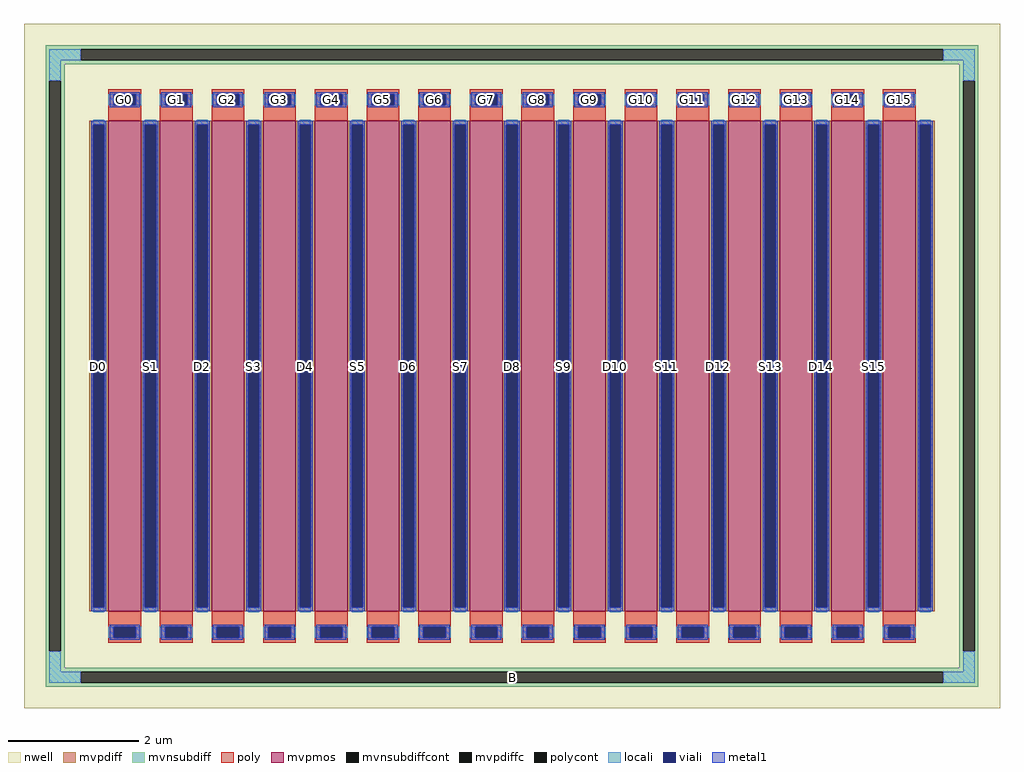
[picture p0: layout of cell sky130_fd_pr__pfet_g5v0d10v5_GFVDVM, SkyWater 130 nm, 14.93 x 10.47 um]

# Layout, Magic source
magic
tech sky130A
magscale 1 2
<< nwell >>
rect -1493 -1047 1493 1047
<< mvpmos >>
rect -1235 -750 -1135 750
rect -1077 -750 -977 750
rect -919 -750 -819 750
rect -761 -750 -661 750
rect -603 -750 -503 750
rect -445 -750 -345 750
rect -287 -750 -187 750
rect -129 -750 -29 750
rect 29 -750 129 750
rect 187 -750 287 750
rect 345 -750 445 750
rect 503 -750 603 750
rect 661 -750 761 750
rect 819 -750 919 750
rect 977 -750 1077 750
rect 1135 -750 1235 750
<< mvpdiff >>
rect -1293 738 -1235 750
rect -1293 -738 -1281 738
rect -1247 -738 -1235 738
rect -1293 -750 -1235 -738
rect -1135 738 -1077 750
rect -1135 -738 -1123 738
rect -1089 -738 -1077 738
rect -1135 -750 -1077 -738
rect -977 738 -919 750
rect -977 -738 -965 738
rect -931 -738 -919 738
rect -977 -750 -919 -738
rect -819 738 -761 750
rect -819 -738 -807 738
rect -773 -738 -761 738
rect -819 -750 -761 -738
rect -661 738 -603 750
rect -661 -738 -649 738
rect -615 -738 -603 738
rect -661 -750 -603 -738
rect -503 738 -445 750
rect -503 -738 -491 738
rect -457 -738 -445 738
rect -503 -750 -445 -738
rect -345 738 -287 750
rect -345 -738 -333 738
rect -299 -738 -287 738
rect -345 -750 -287 -738
rect -187 738 -129 750
rect -187 -738 -175 738
rect -141 -738 -129 738
rect -187 -750 -129 -738
rect -29 738 29 750
rect -29 -738 -17 738
rect 17 -738 29 738
rect -29 -750 29 -738
rect 129 738 187 750
rect 129 -738 141 738
rect 175 -738 187 738
rect 129 -750 187 -738
rect 287 738 345 750
rect 287 -738 299 738
rect 333 -738 345 738
rect 287 -750 345 -738
rect 445 738 503 750
rect 445 -738 457 738
rect 491 -738 503 738
rect 445 -750 503 -738
rect 603 738 661 750
rect 603 -738 615 738
rect 649 -738 661 738
rect 603 -750 661 -738
rect 761 738 819 750
rect 761 -738 773 738
rect 807 -738 819 738
rect 761 -750 819 -738
rect 919 738 977 750
rect 919 -738 931 738
rect 965 -738 977 738
rect 919 -750 977 -738
rect 1077 738 1135 750
rect 1077 -738 1089 738
rect 1123 -738 1135 738
rect 1077 -750 1135 -738
rect 1235 738 1293 750
rect 1235 -738 1247 738
rect 1281 -738 1293 738
rect 1235 -750 1293 -738
<< mvpdiffc >>
rect -1281 -738 -1247 738
rect -1123 -738 -1089 738
rect -965 -738 -931 738
rect -807 -738 -773 738
rect -649 -738 -615 738
rect -491 -738 -457 738
rect -333 -738 -299 738
rect -175 -738 -141 738
rect -17 -738 17 738
rect 141 -738 175 738
rect 299 -738 333 738
rect 457 -738 491 738
rect 615 -738 649 738
rect 773 -738 807 738
rect 931 -738 965 738
rect 1089 -738 1123 738
rect 1247 -738 1281 738
<< mvnsubdiff >>
rect -1427 969 1427 981
rect -1427 935 -1319 969
rect 1319 935 1427 969
rect -1427 923 1427 935
rect -1427 873 -1369 923
rect -1427 -873 -1415 873
rect -1381 -873 -1369 873
rect 1369 873 1427 923
rect -1427 -923 -1369 -873
rect 1369 -873 1381 873
rect 1415 -873 1427 873
rect 1369 -923 1427 -873
rect -1427 -935 1427 -923
rect -1427 -969 -1319 -935
rect 1319 -969 1427 -935
rect -1427 -981 1427 -969
<< mvnsubdiffcont >>
rect -1319 935 1319 969
rect -1415 -873 -1381 873
rect 1381 -873 1415 873
rect -1319 -969 1319 -935
<< poly >>
rect -1235 831 -1135 847
rect -1235 797 -1219 831
rect -1151 797 -1135 831
rect -1235 750 -1135 797
rect -1077 831 -977 847
rect -1077 797 -1061 831
rect -993 797 -977 831
rect -1077 750 -977 797
rect -919 831 -819 847
rect -919 797 -903 831
rect -835 797 -819 831
rect -919 750 -819 797
rect -761 831 -661 847
rect -761 797 -745 831
rect -677 797 -661 831
rect -761 750 -661 797
rect -603 831 -503 847
rect -603 797 -587 831
rect -519 797 -503 831
rect -603 750 -503 797
rect -445 831 -345 847
rect -445 797 -429 831
rect -361 797 -345 831
rect -445 750 -345 797
rect -287 831 -187 847
rect -287 797 -271 831
rect -203 797 -187 831
rect -287 750 -187 797
rect -129 831 -29 847
rect -129 797 -113 831
rect -45 797 -29 831
rect -129 750 -29 797
rect 29 831 129 847
rect 29 797 45 831
rect 113 797 129 831
rect 29 750 129 797
rect 187 831 287 847
rect 187 797 203 831
rect 271 797 287 831
rect 187 750 287 797
rect 345 831 445 847
rect 345 797 361 831
rect 429 797 445 831
rect 345 750 445 797
rect 503 831 603 847
rect 503 797 519 831
rect 587 797 603 831
rect 503 750 603 797
rect 661 831 761 847
rect 661 797 677 831
rect 745 797 761 831
rect 661 750 761 797
rect 819 831 919 847
rect 819 797 835 831
rect 903 797 919 831
rect 819 750 919 797
rect 977 831 1077 847
rect 977 797 993 831
rect 1061 797 1077 831
rect 977 750 1077 797
rect 1135 831 1235 847
rect 1135 797 1151 831
rect 1219 797 1235 831
rect 1135 750 1235 797
rect -1235 -797 -1135 -750
rect -1235 -831 -1219 -797
rect -1151 -831 -1135 -797
rect -1235 -847 -1135 -831
rect -1077 -797 -977 -750
rect -1077 -831 -1061 -797
rect -993 -831 -977 -797
rect -1077 -847 -977 -831
rect -919 -797 -819 -750
rect -919 -831 -903 -797
rect -835 -831 -819 -797
rect -919 -847 -819 -831
rect -761 -797 -661 -750
rect -761 -831 -745 -797
rect -677 -831 -661 -797
rect -761 -847 -661 -831
rect -603 -797 -503 -750
rect -603 -831 -587 -797
rect -519 -831 -503 -797
rect -603 -847 -503 -831
rect -445 -797 -345 -750
rect -445 -831 -429 -797
rect -361 -831 -345 -797
rect -445 -847 -345 -831
rect -287 -797 -187 -750
rect -287 -831 -271 -797
rect -203 -831 -187 -797
rect -287 -847 -187 -831
rect -129 -797 -29 -750
rect -129 -831 -113 -797
rect -45 -831 -29 -797
rect -129 -847 -29 -831
rect 29 -797 129 -750
rect 29 -831 45 -797
rect 113 -831 129 -797
rect 29 -847 129 -831
rect 187 -797 287 -750
rect 187 -831 203 -797
rect 271 -831 287 -797
rect 187 -847 287 -831
rect 345 -797 445 -750
rect 345 -831 361 -797
rect 429 -831 445 -797
rect 345 -847 445 -831
rect 503 -797 603 -750
rect 503 -831 519 -797
rect 587 -831 603 -797
rect 503 -847 603 -831
rect 661 -797 761 -750
rect 661 -831 677 -797
rect 745 -831 761 -797
rect 661 -847 761 -831
rect 819 -797 919 -750
rect 819 -831 835 -797
rect 903 -831 919 -797
rect 819 -847 919 -831
rect 977 -797 1077 -750
rect 977 -831 993 -797
rect 1061 -831 1077 -797
rect 977 -847 1077 -831
rect 1135 -797 1235 -750
rect 1135 -831 1151 -797
rect 1219 -831 1235 -797
rect 1135 -847 1235 -831
<< polycont >>
rect -1219 797 -1151 831
rect -1061 797 -993 831
rect -903 797 -835 831
rect -745 797 -677 831
rect -587 797 -519 831
rect -429 797 -361 831
rect -271 797 -203 831
rect -113 797 -45 831
rect 45 797 113 831
rect 203 797 271 831
rect 361 797 429 831
rect 519 797 587 831
rect 677 797 745 831
rect 835 797 903 831
rect 993 797 1061 831
rect 1151 797 1219 831
rect -1219 -831 -1151 -797
rect -1061 -831 -993 -797
rect -903 -831 -835 -797
rect -745 -831 -677 -797
rect -587 -831 -519 -797
rect -429 -831 -361 -797
rect -271 -831 -203 -797
rect -113 -831 -45 -797
rect 45 -831 113 -797
rect 203 -831 271 -797
rect 361 -831 429 -797
rect 519 -831 587 -797
rect 677 -831 745 -797
rect 835 -831 903 -797
rect 993 -831 1061 -797
rect 1151 -831 1219 -797
<< locali >>
rect -1415 935 -1319 969
rect 1319 935 1415 969
rect -1415 873 -1381 935
rect 1381 873 1415 935
rect -1235 797 -1219 831
rect -1151 797 -1135 831
rect -1077 797 -1061 831
rect -993 797 -977 831
rect -919 797 -903 831
rect -835 797 -819 831
rect -761 797 -745 831
rect -677 797 -661 831
rect -603 797 -587 831
rect -519 797 -503 831
rect -445 797 -429 831
rect -361 797 -345 831
rect -287 797 -271 831
rect -203 797 -187 831
rect -129 797 -113 831
rect -45 797 -29 831
rect 29 797 45 831
rect 113 797 129 831
rect 187 797 203 831
rect 271 797 287 831
rect 345 797 361 831
rect 429 797 445 831
rect 503 797 519 831
rect 587 797 603 831
rect 661 797 677 831
rect 745 797 761 831
rect 819 797 835 831
rect 903 797 919 831
rect 977 797 993 831
rect 1061 797 1077 831
rect 1135 797 1151 831
rect 1219 797 1235 831
rect -1281 738 -1247 754
rect -1281 -754 -1247 -738
rect -1123 738 -1089 754
rect -1123 -754 -1089 -738
rect -965 738 -931 754
rect -965 -754 -931 -738
rect -807 738 -773 754
rect -807 -754 -773 -738
rect -649 738 -615 754
rect -649 -754 -615 -738
rect -491 738 -457 754
rect -491 -754 -457 -738
rect -333 738 -299 754
rect -333 -754 -299 -738
rect -175 738 -141 754
rect -175 -754 -141 -738
rect -17 738 17 754
rect -17 -754 17 -738
rect 141 738 175 754
rect 141 -754 175 -738
rect 299 738 333 754
rect 299 -754 333 -738
rect 457 738 491 754
rect 457 -754 491 -738
rect 615 738 649 754
rect 615 -754 649 -738
rect 773 738 807 754
rect 773 -754 807 -738
rect 931 738 965 754
rect 931 -754 965 -738
rect 1089 738 1123 754
rect 1089 -754 1123 -738
rect 1247 738 1281 754
rect 1247 -754 1281 -738
rect -1235 -831 -1219 -797
rect -1151 -831 -1135 -797
rect -1077 -831 -1061 -797
rect -993 -831 -977 -797
rect -919 -831 -903 -797
rect -835 -831 -819 -797
rect -761 -831 -745 -797
rect -677 -831 -661 -797
rect -603 -831 -587 -797
rect -519 -831 -503 -797
rect -445 -831 -429 -797
rect -361 -831 -345 -797
rect -287 -831 -271 -797
rect -203 -831 -187 -797
rect -129 -831 -113 -797
rect -45 -831 -29 -797
rect 29 -831 45 -797
rect 113 -831 129 -797
rect 187 -831 203 -797
rect 271 -831 287 -797
rect 345 -831 361 -797
rect 429 -831 445 -797
rect 503 -831 519 -797
rect 587 -831 603 -797
rect 661 -831 677 -797
rect 745 -831 761 -797
rect 819 -831 835 -797
rect 903 -831 919 -797
rect 977 -831 993 -797
rect 1061 -831 1077 -797
rect 1135 -831 1151 -797
rect 1219 -831 1235 -797
rect -1415 -935 -1381 -873
rect 1381 -935 1415 -873
rect -1415 -969 -1319 -935
rect 1319 -969 1415 -935
<< viali >>
rect -1219 797 -1151 831
rect -1061 797 -993 831
rect -903 797 -835 831
rect -745 797 -677 831
rect -587 797 -519 831
rect -429 797 -361 831
rect -271 797 -203 831
rect -113 797 -45 831
rect 45 797 113 831
rect 203 797 271 831
rect 361 797 429 831
rect 519 797 587 831
rect 677 797 745 831
rect 835 797 903 831
rect 993 797 1061 831
rect 1151 797 1219 831
rect -1281 -738 -1247 738
rect -1123 -738 -1089 738
rect -965 -738 -931 738
rect -807 -738 -773 738
rect -649 -738 -615 738
rect -491 -738 -457 738
rect -333 -738 -299 738
rect -175 -738 -141 738
rect -17 -738 17 738
rect 141 -738 175 738
rect 299 -738 333 738
rect 457 -738 491 738
rect 615 -738 649 738
rect 773 -738 807 738
rect 931 -738 965 738
rect 1089 -738 1123 738
rect 1247 -738 1281 738
rect -1219 -831 -1151 -797
rect -1061 -831 -993 -797
rect -903 -831 -835 -797
rect -745 -831 -677 -797
rect -587 -831 -519 -797
rect -429 -831 -361 -797
rect -271 -831 -203 -797
rect -113 -831 -45 -797
rect 45 -831 113 -797
rect 203 -831 271 -797
rect 361 -831 429 -797
rect 519 -831 587 -797
rect 677 -831 745 -797
rect 835 -831 903 -797
rect 993 -831 1061 -797
rect 1151 -831 1219 -797
<< metal1 >>
rect -1231 831 -1139 837
rect -1231 797 -1219 831
rect -1151 797 -1139 831
rect -1231 791 -1139 797
rect -1073 831 -981 837
rect -1073 797 -1061 831
rect -993 797 -981 831
rect -1073 791 -981 797
rect -915 831 -823 837
rect -915 797 -903 831
rect -835 797 -823 831
rect -915 791 -823 797
rect -757 831 -665 837
rect -757 797 -745 831
rect -677 797 -665 831
rect -757 791 -665 797
rect -599 831 -507 837
rect -599 797 -587 831
rect -519 797 -507 831
rect -599 791 -507 797
rect -441 831 -349 837
rect -441 797 -429 831
rect -361 797 -349 831
rect -441 791 -349 797
rect -283 831 -191 837
rect -283 797 -271 831
rect -203 797 -191 831
rect -283 791 -191 797
rect -125 831 -33 837
rect -125 797 -113 831
rect -45 797 -33 831
rect -125 791 -33 797
rect 33 831 125 837
rect 33 797 45 831
rect 113 797 125 831
rect 33 791 125 797
rect 191 831 283 837
rect 191 797 203 831
rect 271 797 283 831
rect 191 791 283 797
rect 349 831 441 837
rect 349 797 361 831
rect 429 797 441 831
rect 349 791 441 797
rect 507 831 599 837
rect 507 797 519 831
rect 587 797 599 831
rect 507 791 599 797
rect 665 831 757 837
rect 665 797 677 831
rect 745 797 757 831
rect 665 791 757 797
rect 823 831 915 837
rect 823 797 835 831
rect 903 797 915 831
rect 823 791 915 797
rect 981 831 1073 837
rect 981 797 993 831
rect 1061 797 1073 831
rect 981 791 1073 797
rect 1139 831 1231 837
rect 1139 797 1151 831
rect 1219 797 1231 831
rect 1139 791 1231 797
rect -1287 738 -1241 750
rect -1287 -738 -1281 738
rect -1247 -738 -1241 738
rect -1287 -750 -1241 -738
rect -1129 738 -1083 750
rect -1129 -738 -1123 738
rect -1089 -738 -1083 738
rect -1129 -750 -1083 -738
rect -971 738 -925 750
rect -971 -738 -965 738
rect -931 -738 -925 738
rect -971 -750 -925 -738
rect -813 738 -767 750
rect -813 -738 -807 738
rect -773 -738 -767 738
rect -813 -750 -767 -738
rect -655 738 -609 750
rect -655 -738 -649 738
rect -615 -738 -609 738
rect -655 -750 -609 -738
rect -497 738 -451 750
rect -497 -738 -491 738
rect -457 -738 -451 738
rect -497 -750 -451 -738
rect -339 738 -293 750
rect -339 -738 -333 738
rect -299 -738 -293 738
rect -339 -750 -293 -738
rect -181 738 -135 750
rect -181 -738 -175 738
rect -141 -738 -135 738
rect -181 -750 -135 -738
rect -23 738 23 750
rect -23 -738 -17 738
rect 17 -738 23 738
rect -23 -750 23 -738
rect 135 738 181 750
rect 135 -738 141 738
rect 175 -738 181 738
rect 135 -750 181 -738
rect 293 738 339 750
rect 293 -738 299 738
rect 333 -738 339 738
rect 293 -750 339 -738
rect 451 738 497 750
rect 451 -738 457 738
rect 491 -738 497 738
rect 451 -750 497 -738
rect 609 738 655 750
rect 609 -738 615 738
rect 649 -738 655 738
rect 609 -750 655 -738
rect 767 738 813 750
rect 767 -738 773 738
rect 807 -738 813 738
rect 767 -750 813 -738
rect 925 738 971 750
rect 925 -738 931 738
rect 965 -738 971 738
rect 925 -750 971 -738
rect 1083 738 1129 750
rect 1083 -738 1089 738
rect 1123 -738 1129 738
rect 1083 -750 1129 -738
rect 1241 738 1287 750
rect 1241 -738 1247 738
rect 1281 -738 1287 738
rect 1241 -750 1287 -738
rect -1231 -797 -1139 -791
rect -1231 -831 -1219 -797
rect -1151 -831 -1139 -797
rect -1231 -837 -1139 -831
rect -1073 -797 -981 -791
rect -1073 -831 -1061 -797
rect -993 -831 -981 -797
rect -1073 -837 -981 -831
rect -915 -797 -823 -791
rect -915 -831 -903 -797
rect -835 -831 -823 -797
rect -915 -837 -823 -831
rect -757 -797 -665 -791
rect -757 -831 -745 -797
rect -677 -831 -665 -797
rect -757 -837 -665 -831
rect -599 -797 -507 -791
rect -599 -831 -587 -797
rect -519 -831 -507 -797
rect -599 -837 -507 -831
rect -441 -797 -349 -791
rect -441 -831 -429 -797
rect -361 -831 -349 -797
rect -441 -837 -349 -831
rect -283 -797 -191 -791
rect -283 -831 -271 -797
rect -203 -831 -191 -797
rect -283 -837 -191 -831
rect -125 -797 -33 -791
rect -125 -831 -113 -797
rect -45 -831 -33 -797
rect -125 -837 -33 -831
rect 33 -797 125 -791
rect 33 -831 45 -797
rect 113 -831 125 -797
rect 33 -837 125 -831
rect 191 -797 283 -791
rect 191 -831 203 -797
rect 271 -831 283 -797
rect 191 -837 283 -831
rect 349 -797 441 -791
rect 349 -831 361 -797
rect 429 -831 441 -797
rect 349 -837 441 -831
rect 507 -797 599 -791
rect 507 -831 519 -797
rect 587 -831 599 -797
rect 507 -837 599 -831
rect 665 -797 757 -791
rect 665 -831 677 -797
rect 745 -831 757 -797
rect 665 -837 757 -831
rect 823 -797 915 -791
rect 823 -831 835 -797
rect 903 -831 915 -797
rect 823 -837 915 -831
rect 981 -797 1073 -791
rect 981 -831 993 -797
rect 1061 -831 1073 -797
rect 981 -837 1073 -831
rect 1139 -797 1231 -791
rect 1139 -831 1151 -797
rect 1219 -831 1231 -797
rect 1139 -837 1231 -831
<< labels >>
rlabel mvnsubdiffcont 0 -952 0 -952 0 B
port 1 nsew
rlabel mvpdiffc -1264 0 -1264 0 0 D0
port 2 nsew
rlabel polycont -1185 814 -1185 814 0 G0
port 3 nsew
rlabel mvpdiffc -1106 0 -1106 0 0 S1
port 4 nsew
rlabel polycont -1027 814 -1027 814 0 G1
port 5 nsew
rlabel mvpdiffc -948 0 -948 0 0 D2
port 6 nsew
rlabel polycont -869 814 -869 814 0 G2
port 7 nsew
rlabel mvpdiffc -790 0 -790 0 0 S3
port 8 nsew
rlabel polycont -711 814 -711 814 0 G3
port 9 nsew
rlabel mvpdiffc -632 0 -632 0 0 D4
port 10 nsew
rlabel polycont -553 814 -553 814 0 G4
port 11 nsew
rlabel mvpdiffc -474 0 -474 0 0 S5
port 12 nsew
rlabel polycont -395 814 -395 814 0 G5
port 13 nsew
rlabel mvpdiffc -316 0 -316 0 0 D6
port 14 nsew
rlabel polycont -237 814 -237 814 0 G6
port 15 nsew
rlabel mvpdiffc -158 0 -158 0 0 S7
port 16 nsew
rlabel polycont -79 814 -79 814 0 G7
port 17 nsew
rlabel mvpdiffc 0 0 0 0 0 D8
port 18 nsew
rlabel polycont 79 814 79 814 0 G8
port 19 nsew
rlabel mvpdiffc 158 0 158 0 0 S9
port 20 nsew
rlabel polycont 237 814 237 814 0 G9
port 21 nsew
rlabel mvpdiffc 316 0 316 0 0 D10
port 22 nsew
rlabel polycont 395 814 395 814 0 G10
port 23 nsew
rlabel mvpdiffc 474 0 474 0 0 S11
port 24 nsew
rlabel polycont 553 814 553 814 0 G11
port 25 nsew
rlabel mvpdiffc 632 0 632 0 0 D12
port 26 nsew
rlabel polycont 711 814 711 814 0 G12
port 27 nsew
rlabel mvpdiffc 790 0 790 0 0 S13
port 28 nsew
rlabel polycont 869 814 869 814 0 G13
port 29 nsew
rlabel mvpdiffc 948 0 948 0 0 D14
port 30 nsew
rlabel polycont 1027 814 1027 814 0 G14
port 31 nsew
rlabel mvpdiffc 1106 0 1106 0 0 S15
port 32 nsew
rlabel polycont 1185 814 1185 814 0 G15
port 33 nsew
<< properties >>
string FIXED_BBOX -1398 -952 1398 952
string gencell sky130_fd_pr__pfet_g5v0d10v5
string library sky130
string parameters w 7.5 l 0.50 m 1 nf 16 diffcov 100 polycov 100 guard 1 glc 1 grc 1 gtc 1 gbc 1 tbcov 100 rlcov 100 topc 1 botc 1 poverlap 0 doverlap 1 lmin 0.50 wmin 0.42 class mosfet compatible {sky130_fd_pr__pfet_01v8  sky130_fd_pr__pfet_01v8_lvt sky130_fd_pr__pfet_01v8_hvt  sky130_fd_pr__pfet_g5v0d10v5} full_metal 1 conn_gates 0 viasrc 100 viadrn 100 viagate 100 viagb 0 viagr 0 viagl 0 viagt 0 doports 1
<< end >>
